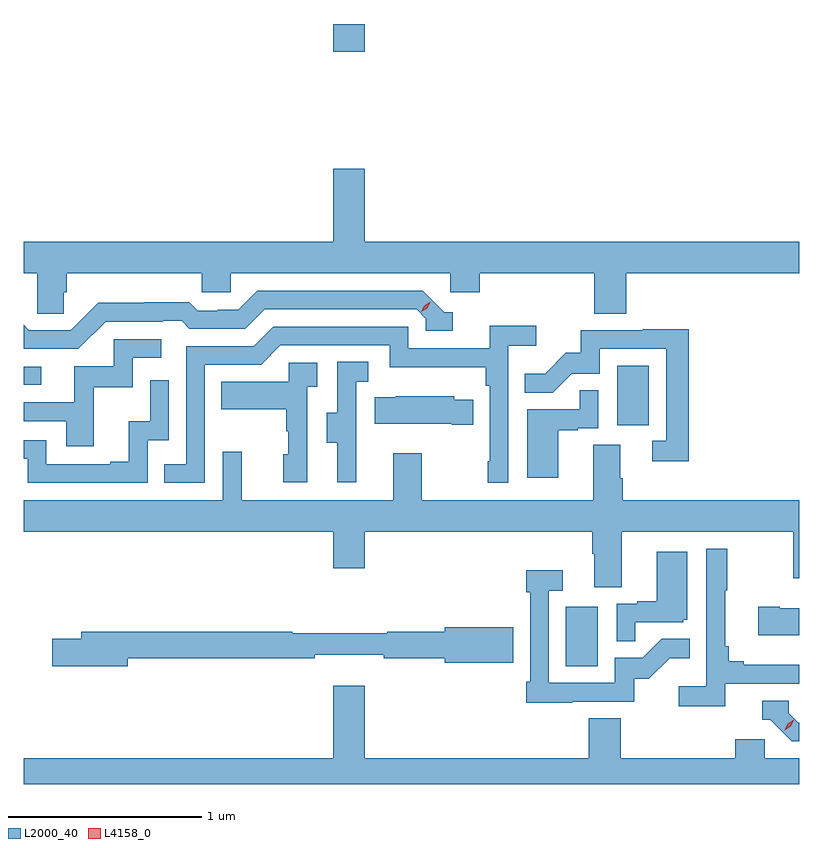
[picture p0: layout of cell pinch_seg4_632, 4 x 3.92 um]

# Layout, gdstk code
import gdstk
lib = gdstk.Library(unit=1e-6, precision=1e-09)
def R(c, l, rs):  # rectangles x0, y0, x1, y1
    for r in rs: c.add(gdstk.rectangle(r[:2], r[2:], *l))
def P(c, l, *ps):  # polygons
    for p in ps: c.add(gdstk.Polygon(p, *l))
L2000_40 = (2000, 40)
L4158_0 = (4158, 0)

pinch_seg4_632 = lib.new_cell('pinch_seg4_632')
R(pinch_seg4_632, L2000_40, [(1077.296,749.508,1077.46,749.815), (1077.56,750.75,1077.724,751.057), (1074.5,750.957,1074.592,751.05), (1076.096,752.676,1076.26,752.818)])
P(pinch_seg4_632, L2000_40, [(1074.707,751.434),(1074.722,751.434),(1074.722,751.532),(1075.419,751.532),(1075.419,751.434),(1075.569,751.434),(1075.569,751.532),(1076.7,751.532),(1076.7,751.434),(1076.852,751.434),(1076.852,751.532),(1077.443,751.532),(1077.443,751.324),(1077.608,751.324),(1077.608,751.532),(1078.5,751.532),(1078.5,751.696),(1076.26,751.696),(1076.26,752.071),(1076.096,752.071),(1076.096,751.696),(1074.5,751.696),(1074.5,751.532),(1074.57,751.532),(1074.57,751.324),(1074.707,751.324)],
  [(1074.924,751.284),(1075.217,751.284),(1075.217,751.287),(1075.316,751.287),(1075.355,751.248),(1075.644,751.248),(1075.743,751.347),(1076.526,751.347),(1076.574,751.299),(1076.574,751.236),(1076.713,751.236),(1076.713,751.332),(1076.67,751.332),(1076.559,751.443),(1075.706,751.443),(1075.607,751.344),(1075.5,751.344),(1075.5,751.341),(1075.397,751.341),(1075.355,751.384),(1075.122,751.384),(1075.122,751.381),(1074.886,751.381),(1074.744,751.239),(1074.528,751.239),(1074.5,751.267),(1074.5,751.143),(1074.783,751.143)],
  [(1075.434,751.062),(1075.725,751.062),(1075.824,751.161),(1076.388,751.161),(1076.388,751.049),(1076.884,751.049),(1076.884,750.953),(1076.904,750.953),(1076.904,750.565),(1076.892,750.565),(1076.892,750.453),(1077,750.453),(1077,751.16),(1077.142,751.16),(1077.142,751.262),(1076.903,751.262),(1076.903,751.146),(1076.484,751.146),(1076.484,751.257),(1075.787,751.257),(1075.688,751.158),(1075.338,751.158),(1075.338,750.549),(1075.225,750.549),(1075.225,750.453),(1075.434,750.453)],
  [(1077.929,751.244),(1077.691,751.244),(1077.691,751.239),(1077.373,751.239),(1077.373,751.122),(1077.296,751.122),(1077.189,751.015),(1077.085,751.015),(1077.085,750.916),(1077.229,750.916),(1077.327,751.014),(1077.471,751.014),(1077.471,751.143),(1077.813,751.143),(1077.813,750.669),(1077.741,750.669),(1077.741,750.564),(1077.929,750.564)],
  [(1074.863,750.945),(1075.062,750.945),(1075.062,751.098),(1075.21,751.098),(1075.21,751.194),(1074.966,751.194),(1074.966,751.053),(1074.761,751.053),(1074.761,750.867),(1074.5,750.867),(1074.5,750.771),(1074.719,750.771),(1074.719,750.642),(1074.863,750.642)],
  [(1076.216,750.669),(1076.214,750.669),(1076.214,750.973),(1076.278,750.973),(1076.278,751.076),(1076.118,751.076),(1076.118,750.813),(1076.063,750.813),(1076.063,750.658),(1076.117,750.658),(1076.117,750.456),(1076.216,750.456)],
  [(1075.962,750.947),(1076.014,750.947),(1076.014,751.071),(1075.866,751.071),(1075.866,750.973),(1075.519,750.973),(1075.519,750.833),(1075.854,750.833),(1075.854,750.719),(1075.864,750.719),(1075.864,750.6),(1075.838,750.6),(1075.838,750.456),(1075.962,750.456)],
  [(1075.14,750.672),(1075.248,750.672),(1075.248,750.982),(1075.152,750.982),(1075.152,750.77),(1075.043,750.77),(1075.043,750.562),(1074.947,750.562),(1074.947,750.549),(1074.618,750.549),(1074.618,750.672),(1074.5,750.672),(1074.5,750.576),(1074.522,750.576),(1074.522,750.453),(1075.14,750.453)],
  [(1077.256,750.723),(1077.356,750.723),(1077.356,750.735),(1077.462,750.735),(1077.462,750.929),(1077.367,750.929),(1077.367,750.831),(1077.098,750.831),(1077.098,750.48),(1077.256,750.48)],
  [(1076.819,750.88),(1076.721,750.88),(1076.721,750.898),(1076.419,750.898),(1076.419,750.895),(1076.311,750.895),(1076.311,750.758),(1076.708,750.758),(1076.708,750.751),(1076.819,750.751)],
  [(1077.59,750.476),(1077.577,750.476),(1077.577,750.65),(1077.437,750.65),(1077.437,750.364),(1076.553,750.364),(1076.553,750.604),(1076.405,750.604),(1076.405,750.364),(1075.625,750.364),(1075.625,750.613),(1075.527,750.613),(1075.527,750.364),(1074.5,750.364),(1074.5,750.2),(1076.096,750.2),(1076.096,750.012),(1076.26,750.012),(1076.26,750.2),(1077.431,750.2),(1077.431,750.088),(1077.443,750.088),(1077.443,749.914),(1077.583,749.914),(1077.583,750.2),(1078.468,750.2),(1078.468,749.961),(1078.5,749.961),(1078.5,750.364),(1077.59,750.364)],
  [(1078.118,749.418),(1078.5,749.418),(1078.5,749.515),(1078.213,749.515),(1078.213,749.534),(1078.136,749.534),(1078.136,749.611),(1078.117,749.611),(1078.117,749.899),(1078.129,749.899),(1078.129,750.112),(1078.02,750.112),(1078.02,749.404),(1077.879,749.404),(1077.879,749.302),(1078.118,749.302)],
  [(1077.653,749.733),(1077.9,749.733),(1077.9,749.748),(1077.922,749.748),(1077.922,750.097),(1077.764,750.097),(1077.764,749.842),(1077.665,749.842),(1077.665,749.829),(1077.558,749.829),(1077.558,749.635),(1077.653,749.635)],
  [(1077.329,749.325),(1077.648,749.325),(1077.648,749.442),(1077.724,749.442),(1077.831,749.549),(1077.935,749.549),(1077.935,749.648),(1077.791,749.648),(1077.693,749.55),(1077.549,749.55),(1077.549,749.421),(1077.207,749.421),(1077.207,749.895),(1077.28,749.895),(1077.28,750.001),(1077.091,750.001),(1077.091,749.888),(1077.111,749.888),(1077.111,749.428),(1077.091,749.428),(1077.091,749.32),(1077.329,749.32)],
  [(1078.5,749.806),(1078.399,749.806),(1078.399,749.814),(1078.287,749.814),(1078.287,749.666),(1078.5,749.666)],
  [(1075.036,749.548),(1076,749.548),(1076,749.567),(1076.356,749.567),(1076.356,749.548),(1076.672,749.548),(1076.672,749.525),(1077.025,749.525),(1077.025,749.708),(1076.672,749.708),(1076.672,749.684),(1076.376,749.684),(1076.376,749.677),(1075.884,749.677),(1075.884,749.684),(1074.797,749.684),(1074.797,749.648),(1074.648,749.648),(1074.648,749.506),(1075.036,749.506)],
  [(1078.5,749.032),(1078.32,749.032),(1078.32,749.13),(1078.169,749.13),(1078.169,749.032),(1077.578,749.032),(1077.578,749.24),(1077.413,749.24),(1077.413,749.032),(1076.26,749.032),(1076.26,749.407),(1076.096,749.407),(1076.096,749.032),(1074.5,749.032),(1074.5,748.9),(1078.5,748.9)],
  [(1078.5,749.217),(1078.494,749.217),(1078.446,749.265),(1078.446,749.328),(1078.307,749.328),(1078.307,749.232),(1078.35,749.232),(1078.461,749.121),(1078.5,749.121)])
P(pinch_seg4_632, L4158_0, [(1076.549,751.334),(1076.549,751.334),(1076.565,751.366),(1076.596,751.386),(1076.597,751.386),(1076.597,751.385),(1076.58,751.353),(1076.549,751.334)],
  [(1078.424,749.178),(1078.424,749.178),(1078.44,749.211),(1078.47,749.23),(1078.47,749.23),(1078.47,749.23),(1078.455,749.197),(1078.425,749.178)])

lib.write_gds('pinch_seg4_632.gds')
